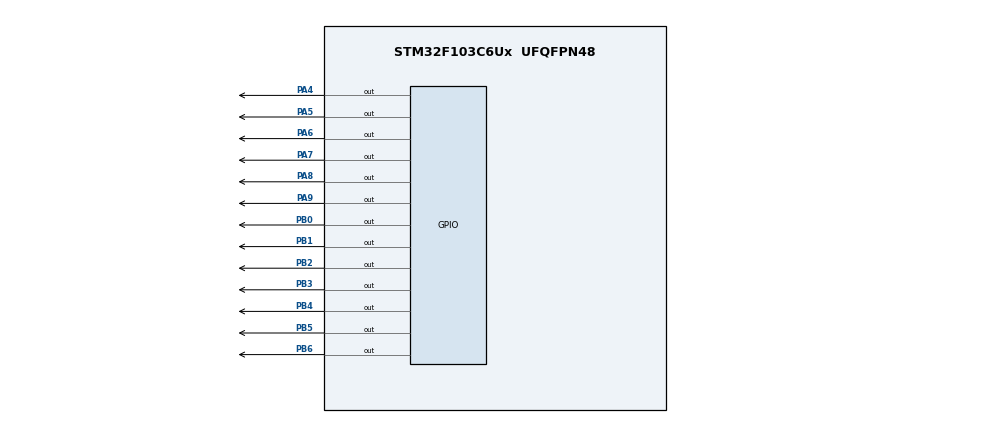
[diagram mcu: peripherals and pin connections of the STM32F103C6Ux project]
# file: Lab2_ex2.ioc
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Mcu.Family=STM32F1
Mcu.Name=STM32F103C6Ux
Mcu.Package=UFQFPN48
NVIC.PriorityGroup=NVIC_PRIORITYGROUP_4
NVIC.TIM2_IRQn=true\:0\:0\:false\:false\:true\:true\:true
PA4.Signal=GPIO_Output
PA5.Signal=GPIO_Output
PA6.Signal=GPIO_Output
PA7.Signal=GPIO_Output
PA8.Signal=GPIO_Output
PA9.Signal=GPIO_Output
PB0.Signal=GPIO_Output
PB1.Signal=GPIO_Output
PB2.Signal=GPIO_Output
PB3.Signal=GPIO_Output
PB4.Signal=GPIO_Output
PB5.Signal=GPIO_Output
PB6.Signal=GPIO_Output
ProjectManager.HeapSize=0x200
ProjectManager.StackSize=0x400
ProjectManager.TargetToolchain=STM32CubeIDE
RCC.APB1Freq_Value=8000000
RCC.APB2Freq_Value=8000000
TIM2.Period=499
TIM2.Prescaler=7999
VP_SYS_VS_ND.Mode=No_Debug
VP_TIM2_VS_ClockSourceINT.Mode=Internal
board=custom

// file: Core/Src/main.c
/* USER CODE BEGIN Header */
/**
  ******************************************************************************
  * @file           : main.c
  * @brief          : Main program body
  ******************************************************************************
  * @attention
  *
  * <h2><center>&copy; Copyright (c) 2025 STMicroelectronics.
  * All rights reserved.</center></h2>
  *
  * This software component is licensed by ST under BSD 3-Clause license,
  * the "License"; You may not use this file except in compliance with the
  * License. You may obtain a copy of the License at:
  *                        opensource.org/licenses/BSD-3-Clause
  *
  ******************************************************************************
  */
/* USER CODE END Header */
#include "main.h"

TIM_HandleTypeDef htim2;

void SystemClock_Config(void);
static void MX_GPIO_Init(void);
static void MX_TIM2_Init(void);

/* USER CODE BEGIN 0 */
void display7SEG(uint8_t num){
	if (num > 9) return;
	switch (num)
	{
	case 0:
		HAL_GPIO_WritePin(GPIOB, GPIO_PIN_0, GPIO_PIN_RESET);
		HAL_GPIO_WritePin(GPIOB, GPIO_PIN_1, GPIO_PIN_RESET);
		HAL_GPIO_WritePin(GPIOB, GPIO_PIN_2, GPIO_PIN_RESET);
		HAL_GPIO_WritePin(GPIOB, GPIO_PIN_3, GPIO_PIN_RESET);
		HAL_GPIO_WritePin(GPIOB, GPIO_PIN_4, GPIO_PIN_RESET);
		HAL_GPIO_WritePin(GPIOB, GPIO_PIN_5, GPIO_PIN_RESET);
		HAL_GPIO_WritePin(GPIOB, GPIO_PIN_6, GPIO_PIN_SET);
		break;
	case 1:
		HAL_GPIO_WritePin(GPIOB, GPIO_PIN_0, GPIO_PIN_SET);
		HAL_GPIO_WritePin(GPIOB, GPIO_PIN_1, GPIO_PIN_RESET);
		HAL_GPIO_WritePin(GPIOB, GPIO_PIN_2, GPIO_PIN_RESET);
		HAL_GPIO_WritePin(GPIOB, GPIO_PIN_3, GPIO_PIN_SET);
		HAL_GPIO_WritePin(GPIOB, GPIO_PIN_4, GPIO_PIN_SET);
		HAL_GPIO_WritePin(GPIOB, GPIO_PIN_5, GPIO_PIN_SET);
		HAL_GPIO_WritePin(GPIOB, GPIO_PIN_6, GPIO_PIN_SET);
		break;
	case 2:
		HAL_GPIO_WritePin(GPIOB, GPIO_PIN_0, GPIO_PIN_RESET);
		HAL_GPIO_WritePin(GPIOB, GPIO_PIN_1, GPIO_PIN_RESET);
		HAL_GPIO_WritePin(GPIOB, GPIO_PIN_2, GPIO_PIN_SET);
		HAL_GPIO_WritePin(GPIOB, GPIO_PIN_3, GPIO_PIN_RESET);
		HAL_GPIO_WritePin(GPIOB, GPIO_PIN_4, GPIO_PIN_RESET);
		HAL_GPIO_WritePin(GPIOB, GPIO_PIN_5, GPIO_PIN_SET);
		HAL_GPIO_WritePin(GPIOB, GPIO_PIN_6, GPIO_PIN_RESET);
		break;
	case 3:
		HAL_GPIO_WritePin(GPIOB, GPIO_PIN_0, GPIO_PIN_RESET);
		HAL_GPIO_WritePin(GPIOB, GPIO_PIN_1, GPIO_PIN_RESET);
		HAL_GPIO_WritePin(GPIOB, GPIO_PIN_2, GPIO_PIN_RESET);
		HAL_GPIO_WritePin(GPIOB, GPIO_PIN_3, GPIO_PIN_RESET);
		HAL_GPIO_WritePin(GPIOB, GPIO_PIN_4, GPIO_PIN_SET);
		HAL_GPIO_WritePin(GPIOB, GPIO_PIN_5, GPIO_PIN_SET);
		HAL_GPIO_WritePin(GPIOB, GPIO_PIN_6, GPIO_PIN_RESET);
		break;
	case 4:
        HAL_GPIO_WritePin(GPIOB, GPIO_PIN_0, GPIO_PIN_SET);
        HAL_GPIO_WritePin(GPIOB, GPIO_PIN_1, GPIO_PIN_RESET);
        HAL_GPIO_WritePin(GPIOB, GPIO_PIN_2, GPIO_PIN_RESET);
        HAL_GPIO_WritePin(GPIOB, GPIO_PIN_3, GPIO_PIN_SET);
        HAL_GPIO_WritePin(GPIOB, GPIO_PIN_4, GPIO_PIN_SET);
        HAL_GPIO_WritePin(GPIOB, GPIO_PIN_5, GPIO_PIN_RESET);
        HAL_GPIO_WritePin(GPIOB, GPIO_PIN_6, GPIO_PIN_RESET);
        break;
	case 5:
		HAL_GPIO_WritePin(GPIOB, GPIO_PIN_0, GPIO_PIN_RESET);
		HAL_GPIO_WritePin(GPIOB, GPIO_PIN_1, GPIO_PIN_SET);
		HAL_GPIO_WritePin(GPIOB, GPIO_PIN_2, GPIO_PIN_RESET);
		HAL_GPIO_WritePin(GPIOB, GPIO_PIN_3, GPIO_PIN_RESET);
		HAL_GPIO_WritePin(GPIOB, GPIO_PIN_4, GPIO_PIN_SET);
		HAL_GPIO_WritePin(GPIOB, GPIO_PIN_5, GPIO_PIN_RESET);
		HAL_GPIO_WritePin(GPIOB, GPIO_PIN_6, GPIO_PIN_RESET);
		break;
	case 6:
		HAL_GPIO_WritePin(GPIOB, GPIO_PIN_0, GPIO_PIN_RESET);
		HAL_GPIO_WritePin(GPIOB, GPIO_PIN_1, GPIO_PIN_SET);
		HAL_GPIO_WritePin(GPIOB, GPIO_PIN_2, GPIO_PIN_RESET);
		HAL_GPIO_WritePin(GPIOB, GPIO_PIN_3, GPIO_PIN_RESET);
		HAL_GPIO_WritePin(GPIOB, GPIO_PIN_4, GPIO_PIN_RESET);
		HAL_GPIO_WritePin(GPIOB, GPIO_PIN_5, GPIO_PIN_RESET);
		HAL_GPIO_WritePin(GPIOB, GPIO_PIN_6, GPIO_PIN_RESET);
		break;
	case 7:
		HAL_GPIO_WritePin(GPIOB, GPIO_PIN_0, GPIO_PIN_RESET);
		HAL_GPIO_WritePin(GPIOB, GPIO_PIN_1, GPIO_PIN_RESET);
		HAL_GPIO_WritePin(GPIOB, GPIO_PIN_2, GPIO_PIN_RESET);
		HAL_GPIO_WritePin(GPIOB, GPIO_PIN_3, GPIO_PIN_SET);
		HAL_GPIO_WritePin(GPIOB, GPIO_PIN_4, GPIO_PIN_SET);
		HAL_GPIO_WritePin(GPIOB, GPIO_PIN_5, GPIO_PIN_SET);
		HAL_GPIO_WritePin(GPIOB, GPIO_PIN_6, GPIO_PIN_SET);
		break;
	case 8:
		HAL_GPIO_WritePin(GPIOB, GPIO_PIN_0, GPIO_PIN_RESET);
		HAL_GPIO_WritePin(GPIOB, GPIO_PIN_1, GPIO_PIN_RESET);
		HAL_GPIO_WritePin(GPIOB, GPIO_PIN_2, GPIO_PIN_RESET);
		HAL_GPIO_WritePin(GPIOB, GPIO_PIN_3, GPIO_PIN_RESET);
		HAL_GPIO_WritePin(GPIOB, GPIO_PIN_4, GPIO_PIN_RESET);
		HAL_GPIO_WritePin(GPIOB, GPIO_PIN_5, GPIO_PIN_RESET);
		HAL_GPIO_WritePin(GPIOB, GPIO_PIN_6, GPIO_PIN_RESET);
		break;
	case 9:
		HAL_GPIO_WritePin(GPIOB, GPIO_PIN_0, GPIO_PIN_RESET);
		HAL_GPIO_WritePin(GPIOB, GPIO_PIN_1, GPIO_PIN_RESET);
		HAL_GPIO_WritePin(GPIOB, GPIO_PIN_2, GPIO_PIN_RESET);
		HAL_GPIO_WritePin(GPIOB, GPIO_PIN_3, GPIO_PIN_RESET);
		HAL_GPIO_WritePin(GPIOB, GPIO_PIN_4, GPIO_PIN_SET);
		HAL_GPIO_WritePin(GPIOB, GPIO_PIN_5, GPIO_PIN_RESET);
		HAL_GPIO_WritePin(GPIOB, GPIO_PIN_6, GPIO_PIN_RESET);
		break;
	default:
		HAL_GPIO_WritePin(GPIOB, GPIO_PIN_0, GPIO_PIN_SET);
		HAL_GPIO_WritePin(GPIOB, GPIO_PIN_1, GPIO_PIN_SET);
		HAL_GPIO_WritePin(GPIOB, GPIO_PIN_2, GPIO_PIN_SET);
		HAL_GPIO_WritePin(GPIOB, GPIO_PIN_3, GPIO_PIN_SET);
		HAL_GPIO_WritePin(GPIOB, GPIO_PIN_4, GPIO_PIN_SET);
		HAL_GPIO_WritePin(GPIOB, GPIO_PIN_5, GPIO_PIN_SET);
		HAL_GPIO_WritePin(GPIOB, GPIO_PIN_6, GPIO_PIN_SET);
		break;
	}
}

uint8_t led_index = 0;
uint8_t dot_state = 0;
uint8_t counter = 0;
void HAL_TIM_PeriodElapsedCallback(TIM_HandleTypeDef *htim){
    if(htim->Instance == TIM2){
    	HAL_GPIO_WritePin(GPIOA, GPIO_PIN_6|GPIO_PIN_7|GPIO_PIN_8|GPIO_PIN_9, GPIO_PIN_SET);

        switch(led_index){
        	case 0:
				display7SEG(1);
				HAL_GPIO_WritePin(GPIOA, GPIO_PIN_6, GPIO_PIN_RESET);
				HAL_GPIO_WritePin(GPIOA, GPIO_PIN_5, GPIO_PIN_RESET);
				break;
			case 1:
				display7SEG(2);
				HAL_GPIO_WritePin(GPIOA, GPIO_PIN_7, GPIO_PIN_RESET);
				HAL_GPIO_WritePin(GPIOA, GPIO_PIN_5, GPIO_PIN_SET);
				break;
            case 2:
                display7SEG(3);
                HAL_GPIO_WritePin(GPIOA, GPIO_PIN_8, GPIO_PIN_RESET);
                HAL_GPIO_WritePin(GPIOA, GPIO_PIN_5, GPIO_PIN_RESET);
                break;
            case 3:
                display7SEG(0);
                HAL_GPIO_WritePin(GPIOA, GPIO_PIN_9, GPIO_PIN_RESET);
                HAL_GPIO_WritePin(GPIOA, GPIO_PIN_5, GPIO_PIN_SET);
                break;
        }

        led_index++;
        if(led_index >= 4) led_index = 0;

        counter++;
        if(counter >= 2){ // 500ms * 2 = 1s
            counter = 0;
            dot_state = !dot_state;
            HAL_GPIO_WritePin(GPIOA, GPIO_PIN_4, dot_state);
        }
    }
}

/* USER CODE END 0 */

int main(void)
{

  /* MCU Configuration--------------------------------------------------------*/

  /* Reset of all peripherals, Initializes the Flash interface and the Systick. */
  HAL_Init();

  /* Configure the system clock */
  SystemClock_Config();

  /* Initialize all configured peripherals */
  MX_GPIO_Init();
  MX_TIM2_Init();
  /* USER CODE BEGIN 2 */
  HAL_TIM_Base_Start_IT(&htim2);
  /* USER CODE END 2 */

  /* Infinite loop */
  while (1)
  {

  }
}

void SystemClock_Config(void)
{
  RCC_OscInitTypeDef RCC_OscInitStruct = {0};
  RCC_ClkInitTypeDef RCC_ClkInitStruct = {0};

  /** Initializes the RCC Oscillators according to the specified parameters
  * in the RCC_OscInitTypeDef structure.
  */
  RCC_OscInitStruct.OscillatorType = RCC_OSCILLATORTYPE_HSI;
  RCC_OscInitStruct.HSIState = RCC_HSI_ON;
  RCC_OscInitStruct.HSICalibrationValue = RCC_HSICALIBRATION_DEFAULT;
  RCC_OscInitStruct.PLL.PLLState = RCC_PLL_NONE;
  if (HAL_RCC_OscConfig(&RCC_OscInitStruct) != HAL_OK)
  {
    Error_Handler();
  }
  /** Initializes the CPU, AHB and APB buses clocks
  */
  RCC_ClkInitStruct.ClockType = RCC_CLOCKTYPE_HCLK|RCC_CLOCKTYPE_SYSCLK
                              |RCC_CLOCKTYPE_PCLK1|RCC_CLOCKTYPE_PCLK2;
  RCC_ClkInitStruct.SYSCLKSource = RCC_SYSCLKSOURCE_HSI;
  RCC_ClkInitStruct.AHBCLKDivider = RCC_SYSCLK_DIV1;
  RCC_ClkInitStruct.APB1CLKDivider = RCC_HCLK_DIV1;
  RCC_ClkInitStruct.APB2CLKDivider = RCC_HCLK_DIV1;

  if (HAL_RCC_ClockConfig(&RCC_ClkInitStruct, FLASH_LATENCY_0) != HAL_OK)
  {
    Error_Handler();
  }
}

static void MX_TIM2_Init(void)
{

  TIM_ClockConfigTypeDef sClockSourceConfig = {0};
  TIM_MasterConfigTypeDef sMasterConfig = {0};

  htim2.Instance = TIM2;
  htim2.Init.Prescaler = 7999;
  htim2.Init.CounterMode = TIM_COUNTERMODE_UP;
  htim2.Init.Period = 499;
  htim2.Init.ClockDivision = TIM_CLOCKDIVISION_DIV1;
  htim2.Init.AutoReloadPreload = TIM_AUTORELOAD_PRELOAD_DISABLE;
  if (HAL_TIM_Base_Init(&htim2) != HAL_OK)
  {
    Error_Handler();
  }
  sClockSourceConfig.ClockSource = TIM_CLOCKSOURCE_INTERNAL;
  if (HAL_TIM_ConfigClockSource(&htim2, &sClockSourceConfig) != HAL_OK)
  {
    Error_Handler();
  }
  sMasterConfig.MasterOutputTrigger = TIM_TRGO_RESET;
  sMasterConfig.MasterSlaveMode = TIM_MASTERSLAVEMODE_DISABLE;
  if (HAL_TIMEx_MasterConfigSynchronization(&htim2, &sMasterConfig) != HAL_OK)
  {
    Error_Handler();
  }

}

static void MX_GPIO_Init(void)
{
  GPIO_InitTypeDef GPIO_InitStruct = {0};

  /* GPIO Ports Clock Enable */
  __HAL_RCC_GPIOA_CLK_ENABLE();
  __HAL_RCC_GPIOB_CLK_ENABLE();

  /*Configure GPIO pin Output Level */
  HAL_GPIO_WritePin(GPIOA, GPIO_PIN_4|GPIO_PIN_5|GPIO_PIN_6|GPIO_PIN_7
                          |GPIO_PIN_8|GPIO_PIN_9, GPIO_PIN_SET);

  /*Configure GPIO pin Output Level */
  HAL_GPIO_WritePin(GPIOB, GPIO_PIN_0|GPIO_PIN_1|GPIO_PIN_2|GPIO_PIN_3
                          |GPIO_PIN_4|GPIO_PIN_5|GPIO_PIN_6, GPIO_PIN_SET);

  /*Configure GPIO pins : PA4 PA5 PA6 PA7
                           PA8 PA9 */
  GPIO_InitStruct.Pin = GPIO_PIN_4|GPIO_PIN_5|GPIO_PIN_6|GPIO_PIN_7
                          |GPIO_PIN_8|GPIO_PIN_9;
  GPIO_InitStruct.Mode = GPIO_MODE_OUTPUT_PP;
  GPIO_InitStruct.Pull = GPIO_NOPULL;
  GPIO_InitStruct.Speed = GPIO_SPEED_FREQ_LOW;
  HAL_GPIO_Init(GPIOA, &GPIO_InitStruct);

  /*Configure GPIO pins : PB0 PB1 PB2 PB3
                           PB4 PB5 PB6 */
  GPIO_InitStruct.Pin = GPIO_PIN_0|GPIO_PIN_1|GPIO_PIN_2|GPIO_PIN_3
                          |GPIO_PIN_4|GPIO_PIN_5|GPIO_PIN_6;
  GPIO_InitStruct.Mode = GPIO_MODE_OUTPUT_PP;
  GPIO_InitStruct.Pull = GPIO_NOPULL;
  GPIO_InitStruct.Speed = GPIO_SPEED_FREQ_LOW;
  HAL_GPIO_Init(GPIOB, &GPIO_InitStruct);

}

void Error_Handler(void)
{
  __disable_irq();
  while (1)
  {
  }
}

/************************ (C) COPYRIGHT STMicroelectronics *****END OF FILE****/
